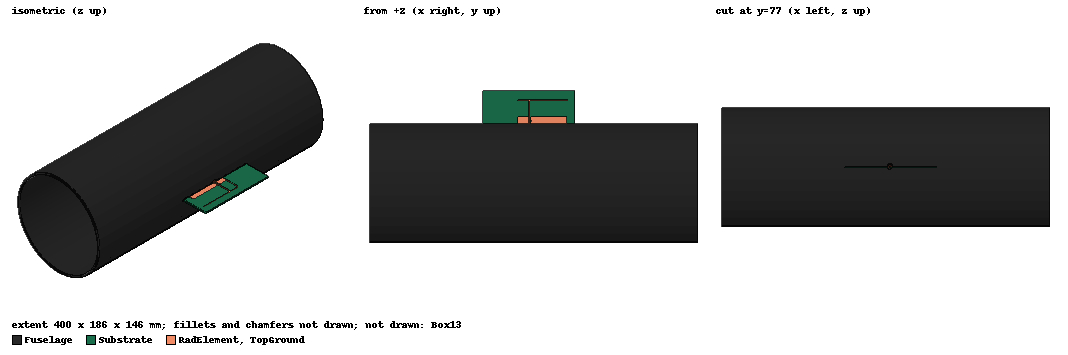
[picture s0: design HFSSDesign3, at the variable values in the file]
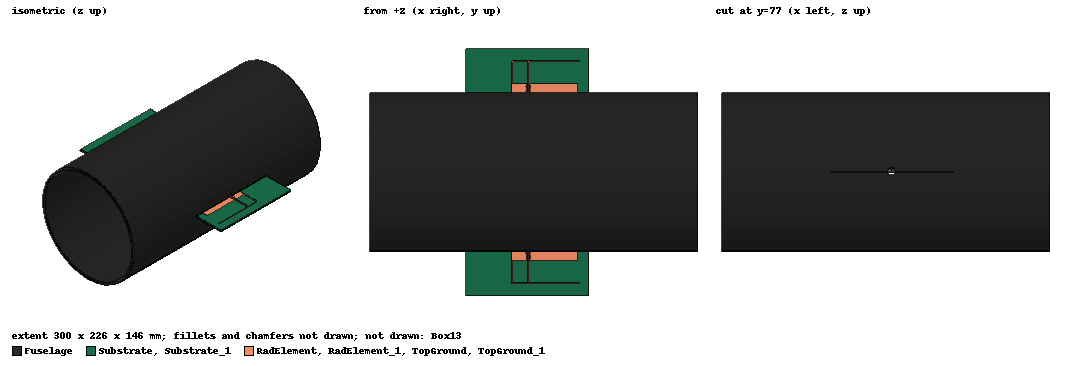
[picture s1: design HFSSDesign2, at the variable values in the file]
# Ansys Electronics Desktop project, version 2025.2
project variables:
  $Radius = 73mm
  $StubLen = 20mm
  $RadLen = 62mm  # optimise 54mm..60mm
  $FeedGap = 14.2mm  # optimise 7mm..15mm
  $PlaneWidth = 8mm
  $SizeMult = 0.94864648
  $Chamfer = 8mm
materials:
  vacuum: permittivity=1
  copper: permeability=0.999991 conductivity=58000000
  air: permittivity=1.0006 permeability=1.0000004
  graphite: conductivity=70000
  FR4_epoxy: permittivity=4.4 dielectric_loss_tangent=0.02
  cast_iron: permeability=60 conductivity=1500000
  CF - Carbon fiber: conductivity=252.337
  aluminum: permeability=1.000021 conductivity=38000000

design HFSSDesign3 (HFSS, HFSS Terminal Network, model units mm)
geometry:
  Substrate [FR4_epoxy] = box(corner=(50mm, $Radius, 0.8mm), size=((((-4.5*25)*0.03937007874015748)*25.399999999999999) mm, 40mm, -1.6mm))
  Substrate.chamfer(Edges=Substrate.edge(at (-62.5, 113, 0)) LeftDistance=40mm RightDistance="(((2.25*25)*0.03937007874015748)*25.399999999999999) mm" ChamferType="Left Distance-Right Distance" ChamferAdditionalGeometryInfo{ChamferEdgeGeometryInfo{ChamferEdgeID=23 ChamferEdgeSense ChamferEdgeStart{X=-62.5mm Y=113mm Z=0.8mm} ChamferEdgeEnd{X=-62.5mm Y=113mm Z=-0.8mm} ChamferEdgeMid{X=-62.5mm Y=113mm Z=0mm} ChamferEdgeMidTangent(0, 0, -1)}})
  Substrate.chamfer(Edges=Substrate.edge(at (50, 113, 0)) LeftDistance=6.25mm RightDistance=40mm ChamferType="Left Distance-Right Distance" ChamferAdditionalGeometryInfo{ChamferEdgeGeometryInfo{ChamferEdgeID=24 ChamferEdgeSense ChamferEdgeStart{X=50mm Y=113mm Z=0.8mm} ChamferEdgeEnd{X=50mm Y=113mm Z=-0.8mm} ChamferEdgeMid{X=50mm Y=113mm Z=0mm} ChamferEdgeMidTangent(0, 0, -1)}})
  TopGround [copper] = box(corner=(-20mm, $Radius, 0.8mm), size=(60mm, $PlaneWidth, 0.035mm))
  TopGround.chamfer(Edges=TopGround.edge(at (-20, 81, 0.8175)) LeftDistance=55deg RightDistance=$PlaneWidth ChamferType="Right Distance-Angle" ChamferAdditionalGeometryInfo{ChamferEdgeGeometryInfo{ChamferEdgeID=2238 ChamferEdgeSense ChamferEdgeStart{X=-30mm Y=81mm Z=0.8mm} ChamferEdgeEnd{X=-30mm Y=81mm Z=0.835mm} ChamferEdgeMid{X=-30mm Y=81mm Z=0.8175mm} ChamferEdgeMidTangent(0, 0, 1)}})  # suppressed
  TopGround.chamfer(Edges=TopGround.edge(at (40, 81, 0.8175)) LeftDistance=$PlaneWidth RightDistance=10deg ChamferType="Left Distance-Angle" ChamferAdditionalGeometryInfo{ChamferEdgeGeometryInfo{ChamferEdgeID=2239 ChamferEdgeSense ChamferEdgeStart{X=720mm Y=81mm Z=0.8mm} ChamferEdgeEnd{X=720mm Y=81mm Z=0.835mm} ChamferEdgeMid{X=720mm Y=81mm Z=0.8175mm} ChamferEdgeMidTangent(0, 0, 1)}})  # suppressed
  coordinate_system RelativeCS1 = origin=(-20mm, $Radius+$PlaneWidth, 0.8mm) x=(1mm, 0mm, 0mm) y=(0mm, 1mm, 0mm)
  StripCutTool = box(corner=($FeedGap-0.6mm, 8mm-$PlaneWidth, 0mm), size=(2.7mm, -10mm, 0.035mm)) in RelativeCS1
  TopGround.subtract(StripCutTool)
  RadElement [copper] = box(corner=(0mm, $StubLen, 0mm), size=($RadLen, 1mm, 0.035mm)) in RelativeCS1
  Box16 = box(corner=($FeedGap, $StubLen, 0mm), size=(1.5mm, -($StubLen+$PlaneWidth+4.4mm), 0.035mm)) in RelativeCS1
  Box15 = box(corner=(0mm, $StubLen, 0mm), size=(1mm, -($StubLen), 0.035mm)) in RelativeCS1
  RadElement.unite(Box16, Box15)
  RadElement.chamfer(Edges=RadElement.edge(at (-19, 101, 0.8175)) LeftDistance=$Chamfer RightDistance=$Chamfer ChamferType=Symmetric ChamferAdditionalGeometryInfo{ChamferEdgeGeometryInfo{ChamferEdgeID=182 ChamferEdgeSense ChamferEdgeStart{X=-19mm Y=101mm Z=0.8mm} ChamferEdgeEnd{X=-19mm Y=101mm Z=0.835mm} ChamferEdgeMid{X=-19mm Y=101mm Z=0.8175mm} ChamferEdgeMidTangent(0, 0, 1)}})
  RadElement.chamfer(Edges=RadElement.edge(at (-20, 102, 0.8175)) LeftDistance=$Chamfer+0.6mm RightDistance=$Chamfer+0.6mm ChamferType=Symmetric ChamferAdditionalGeometryInfo{ChamferEdgeGeometryInfo{ChamferEdgeID=125 ChamferEdgeSense ChamferEdgeStart{X=-20mm Y=102mm Z=0.8mm} ChamferEdgeEnd{X=-20mm Y=102mm Z=0.835mm} ChamferEdgeMid{X=-20mm Y=102mm Z=0.8175mm} ChamferEdgeMidTangent(0, 0, 1)}})
  Fuselage [CF - Carbon fiber] = cylinder(axis=X, base_centre=(-200mm, 0mm, 0mm), radius=73mm, height=400mm, segments=32)
  Cylinder3 = cylinder(axis=X, base_centre=(200mm, 0mm, 0mm), radius=70mm, height=-400mm)
  Fuselage.subtract(Cylinder3)
  ConnectorBridge [copper] = cylinder(axis=Y, base_centre=($FeedGap+.75mm, -$PlaneWidth, 0.035mm), radius=4.5mm/2, height=-4.4mm) in RelativeCS1
  Cylinder5 = cylinder(axis=Y, base_centre=($FeedGap+.75mm, -$PlaneWidth, 0.035mm), radius=2.7mm/2, height=-4.4mm) in RelativeCS1
  ConnectorBridge.subtract(Cylinder5)
  Box17 = box(corner=(17.5mm, -$PlaneWidth, 0mm), size=(-5mm, -4.4mm, -2.5mm)) in RelativeCS1
  ConnectorBridge.subtract(Box17)
  Rectangle1 = rectangle(corner=($FeedGap, -($PlaneWidth+4.4mm), 0mm), z_size=2mm, x_size=1.5mm) in RelativeCS1
  Box13 [air] = box(corner=(-200mm, 200mm, 100mm), size=(400mm, -300mm, -200mm))
  Finger = box(corner=(17.5mm, -$PlaneWidth, 0mm), size=(-5mm, -4.4mm, -1.6mm)) in RelativeCS1
  Substrate.unite(Finger)
  FuselageHole = cylinder(axis=Y, base_centre=($FeedGap+.75mm, -$PlaneWidth, 0.035mm), radius=3.5mm, height=-15mm) in RelativeCS1
  Fuselage.subtract(FuselageHole)
  BottomGround [copper] = box(corner=(-20mm, $Radius, -0.8mm), size=(60mm, $PlaneWidth, -0.035mm))
  coordinate_system RelativeCS2 = origin=(-20mm, $Radius+$PlaneWidth, 0.8mm) x=(1mm, 0mm, 0mm) y=(0mm, 1mm, 0mm) in RelativeCS1
  ViaHole [vacuum, non-model] = cylinder(axis=Z, base_centre=($FeedGap-1.25mm, -1mm, -1.635mm), radius=0.25mm, height=1.67mm) in RelativeCS1
  ViaHole.duplicate_along_line(step=(0mm, -1.5mm, 0mm), total=5, attached) in RelativeCS1
  ViaHole.duplicate_along_line(step=(4mm, 0mm, 0mm), total=2, attached) in RelativeCS1
  Vias [copper] = cylinder(axis=Z, base_centre=($FeedGap-1.25mm, -1mm, -1.635mm), radius=0.25mm, height=1.67mm) in RelativeCS1
  Vias.duplicate_along_line(step=(0mm, -1.5mm, 0mm), total=5, attached) in RelativeCS1
  Vias.duplicate_along_line(step=(4mm, 0mm, 0mm), total=2, attached) in RelativeCS1
  Vias1 = cylinder(axis=Z, base_centre=($FeedGap-1.25mm, -1mm, -1.635mm), radius=0.215mm, height=1.67mm) in RelativeCS1
  Vias1.duplicate_along_line(step=(0mm, -1.5mm, 0mm), total=5, attached) in RelativeCS1
  Vias1.duplicate_along_line(step=(4mm, 0mm, 0mm), total=2, attached) in RelativeCS1
  Vias.subtract(Vias1)
  ViaHole_1 = ViaHole.copy()
  BottomGround.subtract(ViaHole_1)
  ViaHole_2 = ViaHole.copy()
  Substrate.subtract(ViaHole_2)
  ViaHole_3 = ViaHole.copy()
  TopGround.subtract(ViaHole_3)
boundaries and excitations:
  Rad1: Radiation Objects=Box13
  1: Lumped Port Objects=Rectangle1 LumpedPortType=Modal Modes{Mode1{IntLine{(-5.05, 68.6, 2.8) -> (-5, 68.6, 0.8)} CharImp=Zpi}} Impedance=50ohm
  reference conductors: ConnectorBridge
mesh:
  ModelResolution1: DefeatureBased Objects=Fuselage auto length
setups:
  Setup1: HfssDriven Frequency=915MHz MaxDeltaS=0.02 MaximumPasses=12 MinimumPasses=1 MinimumConvergedPasses=1 PercentRefinement=30 BasisOrder=1 PortAccuracy=2 DrivenSolverType="Direct Solver" InfiniteSphereSetup=1
    sweep Sweep: 700MHz to 1100MHz, 200 points; Type=Interpolating InterpTolerance=0.5 InterpMaxSolns=250 PassivityErrorTolerance=0.0001
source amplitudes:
  1:1: 1V 0deg
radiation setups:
  Infinite Sphere1: Infinite Sphere Theta=0deg..180deg step 2deg Phi=-180deg..180deg step 2deg
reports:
  Gain Plot1: dB(GainTotal) vs Phi, Theta on Setup1 : LastAdaptive, Infinite Sphere1 [Freq=0.915GHz]
  Terminal VSWR Plot1: VSWRt(1) vs Freq on Setup1 : Sweep
  Terminal S Parameter Plot1: dB(St(1,1)) vs Freq on Setup1 : Sweep

design HFSSDesign2 (HFSS, HFSS Terminal Network, model units mm)
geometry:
  Substrate [FR4_epoxy] = box(corner=(50mm, $Radius, 0.8mm), size=((((-4.5*25)*0.03937007874015748)*25.399999999999999) mm, 40mm, -1.6mm))
  Substrate.chamfer(Edges=Substrate.edge(at (-62.5, 113, 0)) LeftDistance=40mm RightDistance="(((2.25*25)*0.03937007874015748)*25.399999999999999) mm" ChamferType="Left Distance-Right Distance" ChamferAdditionalGeometryInfo{ChamferEdgeGeometryInfo{ChamferEdgeID=23 ChamferEdgeSense ChamferEdgeStart{X=-62.5mm Y=113mm Z=0.8mm} ChamferEdgeEnd{X=-62.5mm Y=113mm Z=-0.8mm} ChamferEdgeMid{X=-62.5mm Y=113mm Z=0mm} ChamferEdgeMidTangent(0, 0, -1)}})
  Substrate.chamfer(Edges=Substrate.edge(at (50, 113, 0)) LeftDistance=6.25mm RightDistance=40mm ChamferType="Left Distance-Right Distance" ChamferAdditionalGeometryInfo{ChamferEdgeGeometryInfo{ChamferEdgeID=24 ChamferEdgeSense ChamferEdgeStart{X=50mm Y=113mm Z=0.8mm} ChamferEdgeEnd{X=50mm Y=113mm Z=-0.8mm} ChamferEdgeMid{X=50mm Y=113mm Z=0mm} ChamferEdgeMidTangent(0, 0, -1)}})
  coordinate_system RelativeCS1 = origin=(-20mm, $Radius+$PlaneWidth, 0.8mm) x=(1mm, 0mm, 0mm) y=(0mm, 1mm, 0mm)
  Finger = box(corner=(17.5mm, -$PlaneWidth, 0mm), size=(-5mm, -4.4mm, -1.6mm)) in RelativeCS1
  Substrate.unite(Finger)
  ViaHole = cylinder(axis=Z, base_centre=($FeedGap-1.25mm, -1mm, -1.635mm), radius=0.25mm, height=1.67mm) in RelativeCS1
  ViaHole.duplicate_along_line(step=(0mm, -1.5mm, 0mm), total=5, attached) in RelativeCS1
  ViaHole.duplicate_along_line(step=(4mm, 0mm, 0mm), total=2, attached) in RelativeCS1
  ViaHole_1 = ViaHole.copy()
  ViaHole_2 = ViaHole.copy()
  Substrate.subtract(ViaHole_2)
  TopGround [copper] = box(corner=(-20mm, $Radius, 0.8mm), size=(60mm, $PlaneWidth, 0.035mm))
  TopGround.chamfer(Edges=TopGround.edge(at (-20, 81, 0.8175)) LeftDistance=55deg RightDistance=$PlaneWidth ChamferType="Right Distance-Angle" ChamferAdditionalGeometryInfo{ChamferEdgeGeometryInfo{ChamferEdgeID=2238 ChamferEdgeSense ChamferEdgeStart{X=-30mm Y=81mm Z=0.8mm} ChamferEdgeEnd{X=-30mm Y=81mm Z=0.835mm} ChamferEdgeMid{X=-30mm Y=81mm Z=0.8175mm} ChamferEdgeMidTangent(0, 0, 1)}})  # suppressed
  TopGround.chamfer(Edges=TopGround.edge(at (40, 81, 0.8175)) LeftDistance=$PlaneWidth RightDistance=10deg ChamferType="Left Distance-Angle" ChamferAdditionalGeometryInfo{ChamferEdgeGeometryInfo{ChamferEdgeID=2239 ChamferEdgeSense ChamferEdgeStart{X=720mm Y=81mm Z=0.8mm} ChamferEdgeEnd{X=720mm Y=81mm Z=0.835mm} ChamferEdgeMid{X=720mm Y=81mm Z=0.8175mm} ChamferEdgeMidTangent(0, 0, 1)}})  # suppressed
  StripCutTool = box(corner=($FeedGap-0.6mm, 8mm-$PlaneWidth, 0mm), size=(2.7mm, -10mm, 0.035mm)) in RelativeCS1
  TopGround.subtract(StripCutTool)
  ViaHole_3 = ViaHole.copy()
  TopGround.subtract(ViaHole_3)
  ViaHole.delete()
  RadElement [copper] = box(corner=(0mm, $StubLen, 0mm), size=($RadLen, 1mm, 0.035mm)) in RelativeCS1
  Box16 = box(corner=($FeedGap, $StubLen, 0mm), size=(1.5mm, -($StubLen+$PlaneWidth+4.4mm), 0.035mm)) in RelativeCS1
  Box15 = box(corner=(0mm, $StubLen, 0mm), size=(1mm, -($StubLen), 0.035mm)) in RelativeCS1
  RadElement.unite(Box16, Box15)
  RadElement.chamfer(Edges=RadElement.edge(at (-19, 101, 0.8175)) LeftDistance=$Chamfer RightDistance=$Chamfer ChamferType=Symmetric ChamferAdditionalGeometryInfo{ChamferEdgeGeometryInfo{ChamferEdgeID=650 ChamferEdgeSense ChamferEdgeStart{X=-19mm Y=101mm Z=0.8mm} ChamferEdgeEnd{X=-19mm Y=101mm Z=0.835mm} ChamferEdgeMid{X=-19mm Y=101mm Z=0.8175mm} ChamferEdgeMidTangent(0, 0, 1)}})
  RadElement.chamfer(Edges=RadElement.edge(at (-20, 102, 0.8175)) LeftDistance=$Chamfer+0.6mm RightDistance=$Chamfer+0.6mm ChamferType=Symmetric ChamferAdditionalGeometryInfo{ChamferEdgeGeometryInfo{ChamferEdgeID=199 ChamferEdgeSense ChamferEdgeStart{X=-20mm Y=102mm Z=0.8mm} ChamferEdgeEnd{X=-20mm Y=102mm Z=0.835mm} ChamferEdgeMid{X=-20mm Y=102mm Z=0.8175mm} ChamferEdgeMidTangent(0, 0, 1)}})
  Fuselage [CF - Carbon fiber] = cylinder(axis=X, base_centre=(-150mm, 0mm, 0mm), radius=73mm, height=300mm, segments=32)
  Cylinder3 = cylinder(axis=X, base_centre=(200mm, 0mm, 0mm), radius=70mm, height=-400mm)
  Fuselage.subtract(Cylinder3)
  FuselageHole = cylinder(axis=Y, base_centre=($FeedGap+.75mm, -$PlaneWidth, 0.035mm), radius=3.5mm, height=-15mm) in RelativeCS1
  Fuselage.subtract(FuselageHole)
  ConnectorBridge [copper] = cylinder(axis=Y, base_centre=($FeedGap+.75mm, -$PlaneWidth, 0.035mm), radius=4.5mm/2, height=-4.4mm) in RelativeCS1
  Cylinder5 = cylinder(axis=Y, base_centre=($FeedGap+.75mm, -$PlaneWidth, 0.035mm), radius=2.7mm/2, height=-4.4mm) in RelativeCS1
  ConnectorBridge.subtract(Cylinder5)
  Box17 = box(corner=(17.5mm, -$PlaneWidth, 0mm), size=(-5mm, -4.4mm, -2.5mm)) in RelativeCS1
  ConnectorBridge.subtract(Box17)
  Rectangle1 = rectangle(corner=($FeedGap, -($PlaneWidth+4.4mm), 0mm), z_size=2mm, x_size=1.5mm) in RelativeCS1
  BottomGround [copper] = box(corner=(-20mm, $Radius, -0.8mm), size=(60mm, $PlaneWidth, -0.035mm))
  BottomGround.subtract(ViaHole_1)
  Vias [copper] = cylinder(axis=Z, base_centre=($FeedGap-1.25mm, -1mm, -1.635mm), radius=0.25mm, height=1.67mm) in RelativeCS1
  Vias.duplicate_along_line(step=(0mm, -1.5mm, 0mm), total=5, attached) in RelativeCS1
  Vias.duplicate_along_line(step=(4mm, 0mm, 0mm), total=2, attached) in RelativeCS1
  Vias1 = cylinder(axis=Z, base_centre=($FeedGap-1.25mm, -1mm, -1.635mm), radius=0.215mm, height=1.67mm) in RelativeCS1
  Vias1.duplicate_along_line(step=(0mm, -1.5mm, 0mm), total=5, attached) in RelativeCS1
  Vias1.duplicate_along_line(step=(4mm, 0mm, 0mm), total=2, attached) in RelativeCS1
  Vias.subtract(Vias1)
  BottomGround_1 [copper] = BottomGround.duplicate_mirror(point=(0mm, 0mm, 0mm), normal=(0mm, -1mm, 0mm))
  ConnectorBridge_1 [copper] = ConnectorBridge.duplicate_mirror(point=(0mm, 0mm, 0mm), normal=(0mm, -1mm, 0mm))
  RadElement_1 [copper] = RadElement.duplicate_mirror(point=(0mm, 0mm, 0mm), normal=(0mm, -1mm, 0mm))
  TopGround_1 [copper] = TopGround.duplicate_mirror(point=(0mm, 0mm, 0mm), normal=(0mm, -1mm, 0mm))
  Vias_1 [copper] = Vias.duplicate_mirror(point=(0mm, 0mm, 0mm), normal=(0mm, -1mm, 0mm))
  Substrate_1 [FR4_epoxy] = Substrate.duplicate_mirror(point=(0mm, 0mm, 0mm), normal=(0mm, -1mm, 0mm))
  Rectangle1_1 = Rectangle1.duplicate_mirror(point=(0mm, 0mm, 0mm), normal=(0mm, -1mm, 0mm))
  FuselageHole1 = cylinder(axis=Y, base_centre=($FeedGap+.75mm -20mm, -($Radius+$PlaneWidth), 0.035mm), radius=3.5mm, height=15mm)
  Fuselage.subtract(FuselageHole1)
  Box13 [air] = box(corner=(-150mm, 125mm, 100mm), size=(300mm, -250mm, -200mm))
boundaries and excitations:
  Rad1: Radiation Objects=Box13
  1: Lumped Port Objects=Rectangle1 LumpedPortType=Modal Modes{Mode1{IntLine{(-5.05, 68.6, 2.8) -> (-5, 68.6, 0.8)} CharImp=Zpi}} Impedance=50ohm
  2: Lumped Port Objects=Rectangle1_1 LumpedPortType=Modal Modes{Mode1{IntLine{(-5.05, -68.6, 2.8) -> (-5, -68.6, 0.8)} CharImp=Zpi}} Impedance=50ohm
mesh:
  ModelResolution1: DefeatureBased Objects=Fuselage auto length
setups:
  Setup1: HfssDriven Frequency=915MHz MaxDeltaS=0.02 MaximumPasses=12 MinimumPasses=1 MinimumConvergedPasses=1 PercentRefinement=30 BasisOrder=1 PortAccuracy=2 DrivenSolverType="Direct Solver" InfiniteSphereSetup=0
    sweep Sweep: 700MHz to 1100MHz, 200 points; Type=Interpolating InterpTolerance=0.5 InterpMaxSolns=250 PassivityErrorTolerance=0.0001
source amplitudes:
  1:1, 2:1: 1V 0deg
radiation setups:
  Infinite Sphere1: Infinite Sphere Theta=0deg..180deg step 2deg Phi=-180deg..180deg step 2deg
